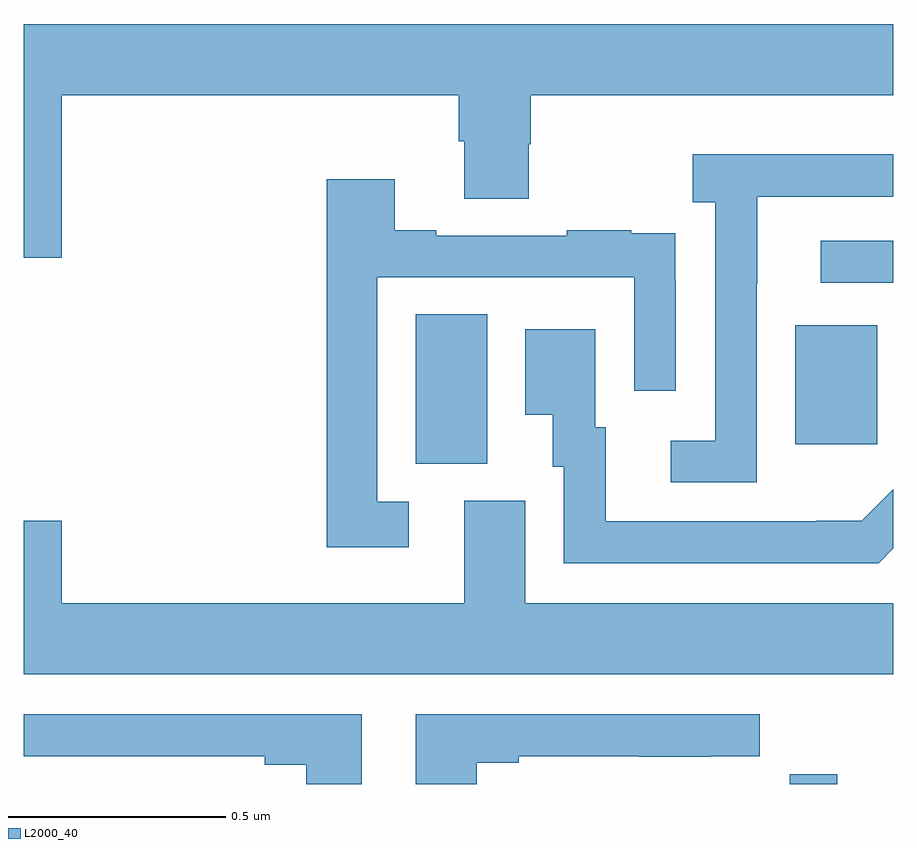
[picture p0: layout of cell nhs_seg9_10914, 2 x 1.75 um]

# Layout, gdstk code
import gdstk
lib = gdstk.Library(unit=1e-6, precision=1e-09)
def R(c, l, rs):  # rectangles x0, y0, x1, y1
    for r in rs: c.add(gdstk.rectangle(r[:2], r[2:], *l))
def P(c, l, *ps):  # polygons
    for p in ps: c.add(gdstk.Polygon(p, *l))
L2000_40 = (2000, 40)

nhs_seg9_10914 = lib.new_cell('nhs_seg9_10914')
R(nhs_seg9_10914, L2000_40, [(250.762,1197.5,250.871,1197.523), (249.902,1198.237,250.066,1198.58), (250.775,1198.281,250.963,1198.555), (250.833,1198.653,251,1198.749)])
P(nhs_seg9_10914, L2000_40, [(249.088,1199.084),(250.001,1199.084),(250.001,1198.978),(250.013,1198.978),(250.013,1198.846),(250.161,1198.846),(250.161,1198.971),(250.166,1198.971),(250.166,1199.084),(251,1199.084),(251,1199.248),(249,1199.248),(249,1198.71),(249.088,1198.71)],
  [(250.686,1198.651),(250.687,1198.651),(250.687,1198.851),(251,1198.851),(251,1198.948),(250.539,1198.948),(250.539,1198.838),(250.59,1198.838),(250.59,1198.29),(250.488,1198.29),(250.488,1198.194),(250.686,1198.194)],
  [(249.886,1198.149),(249.813,1198.149),(249.813,1198.665),(250.404,1198.665),(250.404,1198.404),(250.5,1198.404),(250.5,1198.658),(250.499,1198.658),(250.499,1198.767),(250.397,1198.767),(250.397,1198.774),(250.249,1198.774),(250.249,1198.761),(249.949,1198.761),(249.949,1198.774),(249.853,1198.774),(249.853,1198.891),(249.697,1198.891),(249.697,1198.044),(249.886,1198.044)],
  [(251,1198.042),(251,1198.178),(250.927,1198.105),(250.823,1198.105),(250.823,1198.104),(250.339,1198.104),(250.339,1198.32),(250.315,1198.32),(250.315,1198.546),(250.154,1198.546),(250.154,1198.349),(250.217,1198.349),(250.217,1198.23),(250.242,1198.23),(250.242,1198.008),(250.966,1198.008)],
  [(251,1197.916),(250.153,1197.916),(250.153,1198.152),(250.013,1198.152),(250.013,1197.916),(249.088,1197.916),(249.088,1198.105),(249,1198.105),(249,1197.752),(251,1197.752)],
  [(249.778,1197.66),(249,1197.66),(249,1197.564),(249.554,1197.564),(249.554,1197.544),(249.65,1197.544),(249.65,1197.5),(249.778,1197.5)],
  [(250.042,1197.549),(250.138,1197.549),(250.138,1197.564),(250.414,1197.564),(250.414,1197.563),(250.58,1197.563),(250.58,1197.564),(250.693,1197.564),(250.693,1197.66),(249.902,1197.66),(249.902,1197.5),(250.042,1197.5)])

lib.write_gds('nhs_seg9_10914.gds')
